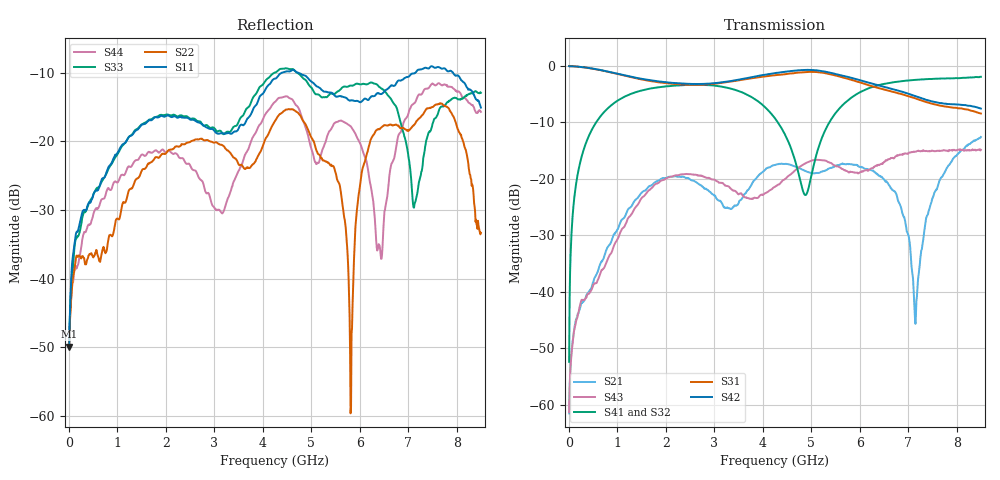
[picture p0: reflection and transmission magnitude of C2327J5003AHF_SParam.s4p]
! Port 1 = Pin 1 = Input
! Port 2 = Pin 3 = Isolated Port
! Port 3 = Pin 4 = Direct Port
! Port 4 = Pin 6 = Coupled Port
# MHZ S DB R 50
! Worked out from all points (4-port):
!   851 points, 3 MHz to 8.5 GHz, reference 50 ohm
!   strongest paths, dB at 3 MHz, 2.122 GHz, 4.252 GHz, 6.381 GHz, 8.5 GHz:
!     S42: 0.0, -3.0, -1.3, -3.4, -7.5
!     S31: 0.0, -3.1, -1.6, -3.9, -8.4
!     S41: -52.4, -3.5, -9.3, -3.4, -1.9
!     S32: -52.4, -3.5, -9.3, -3.6, -2.2
!     S43: -61.4, -19.6, -21.4, -17.5, -14.9
!     S21: -61.5, -19.6, -17.5, -19.3, -12.6
!   lowest |S11| = -49.9 dB at 3 MHz (marker M1), VSWR 1.01, Z = 50.3 + j0.119 ohm
!   |S11| at or under -10 dB: start of sweep to 4.39 GHz; 4.732 GHz to 7.148 GHz (2.416 GHz wide, 40.7 % of centre); 7.925 GHz to end of sweep
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3  -49.91 21.7  -61.27 -141.1  -0.03 -0.3  -52.40 73.9
   -61.51 -138.2  -50.00 18.0  -52.46 74.3  -0.03 -0.3
   -0.03 -0.3  -52.41 74.3  -49.76 19.9  -61.57 -140.6
   -52.40 74.2  -0.04 -0.3  -61.36 -139.9  -49.65 18.0
1042.633  -21.13 18.1  -28.05 -170.0  -1.49 -52.5  -5.93 37.7
          -28.10 -170.1  -31.25 22.8  -5.91 37.0  -1.45 -51.7
          -1.49 -52.5  -5.91 36.9  -21.32 17.3  -29.84 175.0
          -5.93 37.6  -1.45 -51.8  -29.83 174.7  -25.43 -25.7
4641.362  -9.62 -57.9  -17.72 -28.6  -1.27 175.3  -16.07 -64.7
          -17.72 -28.8  -15.44 -75.5  -15.92 -66.8  -0.84 175.6
          -1.28 175.4  -15.93 -66.7  -9.57 -124.0  -18.72 -136.6
          -16.07 -64.6  -0.84 175.6  -18.70 -136.7  -14.22 -102.6
5820.946  -14.00 -84.4  -17.37 -113.7  -2.45 113.4  -5.66 20.3
          -17.39 -113.9  -58.63 175.9  -5.66 14.0  -2.10 114.4
          -2.44 113.4  -5.66 13.9  -11.87 95.7  -18.81 84.5
          -5.65 20.3  -2.09 114.3  -18.77 84.4  -17.87 56.4
6430.731  -13.11 -179.5  -19.53 120.6  -4.00 32.8  -3.28 -58.0
          -19.64 120.6  -18.06 78.3  -3.41 -63.4  -3.52 33.6
          -4.01 33.0  -3.43 -63.4  -12.20 31.3  -17.53 8.1
          -3.31 -58.1  -3.52 33.5  -17.39 8.3  -36.48 -96.5
7210.455  -9.55 77.3  -37.97 160.7  -5.92 -96.2  -2.42 177.4
          -37.33 154.3  -16.76 36.6  -2.06 169.6  -5.53 -95.1
          -5.93 -96.1  -2.07 169.5  -26.36 161.2  -15.00 -160.4
          -2.43 177.3  -5.52 -95.2  -14.99 -160.2  -13.25 93.2
8500  -15.07 -74.3  -12.51 -143.5  -8.40 57.3  -1.94 -24.4
      -12.58 -143.9  -33.30 6.8  -2.18 -44.3  -7.52 61.1
      -8.42 57.1  -2.21 -44.3  -12.92 -24.9  -14.80 -99.5
      -1.92 -24.4  -7.55 60.8  -14.85 -99.4  -15.70 -39.5
